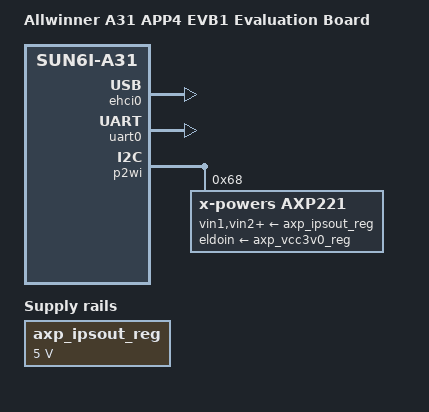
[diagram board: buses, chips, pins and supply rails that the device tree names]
/*
 * Copyright 2014 Boris Brezillon
 *
 * Boris Brezillon <boris.brezillon@free-electrons.com>
 *
 * The code contained herein is licensed under the GNU General Public
 * License. You may obtain a copy of the GNU General Public License
 * Version 2 or later at the following locations:
 *
 * http://www.opensource.org/licenses/gpl-license.html
 * http://www.gnu.org/copyleft/gpl.html
 */

/dts-v1/;
/include/ "sun6i-a31.dtsi"
/include/ "sunxi-common-regulators.dtsi"

/ {
	model = "Allwinner A31 APP4 EVB1 Evaluation Board";
	compatible = "allwinner,app4-evb1", "allwinner,sun6i-a31";

	chosen {
		bootargs = "earlyprintk console=ttyS0,115200";
	};

	soc@01c00000 {
		pio: pinctrl@01c20800 {
			usb1_vbus_pin_a: usb1_vbus_pin@0 {
				allwinner,pins = "PH27";
				allwinner,function = "gpio_out";
				allwinner,drive = <0>;
				allwinner,pull = <0>;
			};
		};

		usbphy: phy@01c19400 {
			usb1_vbus-supply = <&reg_usb1_vbus>;
			status = "okay";
		};

		ehci0: usb@01c1a000 {
			status = "okay";
		};

		uart0: serial@01c28000 {
			pinctrl-names = "default";
			pinctrl-0 = <&uart0_pins_a>;
			status = "okay";
		};

		p2wi: i2c@01f03400 {
			pinctrl-names = "default";
			pinctrl-0 = <&p2wi_pins_a>;
			status = "okay";
			#address-cells = <1>;
			#size-cells = <0>;

			axp221: pmic@68 {
				compatible = "x-powers,axp221";
				reg = <0x68>;
				interrupt-parent = <&nmi_intc>;
				interrupts = <0 8>;

				interrupt-controller;
				#interrupt-cells = <1>;

				vin1-supply = <&axp_ipsout_reg>;
				vin2-supply = <&axp_ipsout_reg>;
				vin3-supply = <&axp_ipsout_reg>;
				vin4-supply = <&axp_ipsout_reg>;
				vin5-supply = <&axp_ipsout_reg>;
				aldoin-supply = <&axp_ipsout_reg>;
				dldoin-supply = <&axp_ipsout_reg>;
				eldoin-supply = <&axp_vcc3v0_reg>;
				ldoioin-supply = <&axp_ipsout_reg>;
				rtcldoin-supply = <&axp_ipsout_reg>;

				regulators {
					compatible = "x-powers,axp22x-reg";

					x-powers,dcdc-freq = <1500>;

					axp_vcc3v0_reg: dcdc1 {
						regulator-always-on;
					};

					axp_vdd_gpu_reg: dcdc2 {
						regulator-always-on;
					};

					axp_vdd_cpu_reg: dcdc3 {
						regulator-always-on;
					};

					axp_vdd_sys_reg: dcdc4 {
						regulator-always-on;
					};

					axp_vcc_dram_reg: dcdc5 {
						regulator-always-on;
					};

					axp_cpus_vdd_reg: dc5ldo {
						regulator-always-on;
					};

					axp_rtc_vcc_reg: rtc_ldo {
						regulator-always-on;
					};

					axp_wifi_piog_vcc_reg: aldo1 {
					};

					axp_io_lpddr2_reg: aldo2 {
						regulator-always-on;
					};

					axp_avcc_reg: aldo3 {
						regulator-always-on;
					};

					axp_gps_vcc_reg: dldo2 {
					};

					axp_card_io_vdd_reg: eldo2 {
					};

					axp_csi_ts_vcc_reg: eldo3 {
					};
				};
			};
		};
	};

	reg_usb1_vbus: usb1-vbus {
		pinctrl-0 = <&usb1_vbus_pin_a>;
		gpio = <&pio 7 27 0>;
		status = "okay";
	};

	axp_ipsout_reg: axp_ipsout {
		compatible = "regulator-fixed";
		regulator-name = "axp-ipsout";
		regulator-min-microvolt = <5000000>;
		regulator-max-microvolt = <5000000>;
		regulator-always-on;
	};
};
